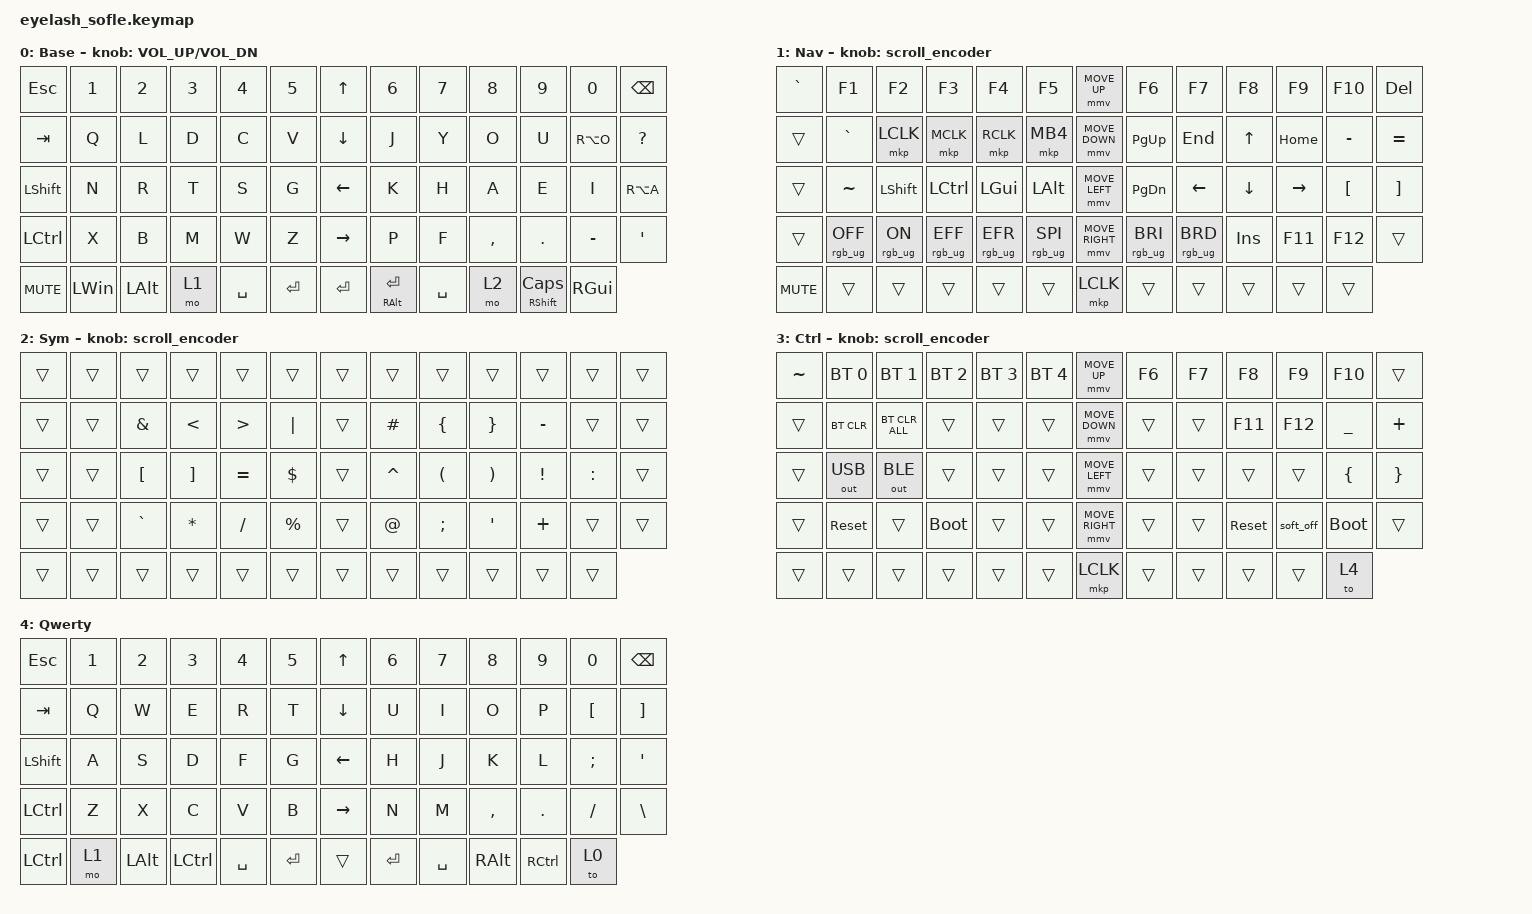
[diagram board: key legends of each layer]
#define ZMK_POINTING_DEFAULT_MOVE_VAL 1200  // 600
#define ZMK_POINTING_DEFAULT_SCRL_VAL 25   // 10

#include <input/processors.dtsi>
#include <zephyr/dt-bindings/input/input-event-codes.h>
#include <behaviors.dtsi>
#include <dt-bindings/zmk/bt.h>
#include <dt-bindings/zmk/keys.h>
#include <dt-bindings/zmk/outputs.h>
#include <dt-bindings/zmk/pointing.h>
#include <dt-bindings/zmk/rgb.h>

&mmv_input_listener { input-processors = <&zip_xy_scaler 2 1>; };

&msc_input_listener { input-processors = <&zip_scroll_scaler 2 1>; };

&msc {
    acceleration-exponent = <1>;      // 0
    time-to-max-speed-ms = <100>;       // 300
    delay-ms = <0>;                   // 0
};

&mmv {
    time-to-max-speed-ms = <500>;
    acceleration-exponent = <1>;
    trigger-period-ms = <16>;
};

&soft_off { hold-time-ms = <2000>; };

/ {
    scroll_encoder: scroll_encoder {
        compatible = "zmk,behavior-sensor-rotate";
        #sensor-binding-cells = <0>;
        bindings = <&msc SCRL_DOWN>, <&msc SCRL_UP>;

        tap-ms = <100>;
    };

    behaviors {
    };

    combos {
        compatible = "zmk,combos";

        softoff {
            bindings = <&soft_off>;
            key-positions = <14 28 40>;
        };
    };

    keymap {
        compatible = "zmk,keymap";

        layer0 {
            bindings = <
&kp ESC           &kp N1        &kp N2        &kp N3  &kp N4     &kp N5     &kp UP_ARROW     &kp N6             &kp N7     &kp N8     &kp N9                    &kp N0         &kp BACKSPACE
&kp TAB           &kp Q         &kp L         &kp D   &kp C      &kp V      &kp DOWN_ARROW   &kp J              &kp Y      &kp O      &kp U                     &kp RA(O)      &kp QUESTION
&kp LEFT_SHIFT    &kp N         &kp R         &kp T   &kp S      &kp G      &kp LEFT_ARROW   &kp K              &kp H      &kp A      &kp E                     &kp I          &kp RA(A)
&kp LEFT_CONTROL  &kp X         &kp B         &kp M   &kp W      &kp Z      &kp RIGHT_ARROW  &kp P              &kp F      &kp COMMA  &kp DOT                   &kp MINUS      &kp APOSTROPHE
&kp C_MUTE        &kp LEFT_WIN  &kp LEFT_ALT  &mo 1   &kp SPACE  &kp RET    &kp ENTER        &mt RIGHT_ALT RET  &kp SPACE  &mo 2      &mt RIGHT_SHIFT CAPSLOCK  &kp RIGHT_GUI
            >;

            sensor-bindings = <&inc_dec_kp C_VOLUME_UP C_VOL_DN>;
            display-name = "Base";
        };

        nav_layer {
            bindings = <
&kp GRAVE   &kp F1           &kp F2          &kp F3            &kp F4           &kp F5             &mmv MOVE_UP     &kp F6           &kp F7           &kp F8      &kp F9     &kp F10           &kp DELETE
&trans      &kp GRAVE        &mkp LCLK       &mkp MCLK         &mkp RCLK        &mkp MB4           &mmv MOVE_DOWN   &kp PG_UP        &kp END          &kp UP      &kp HOME   &kp MINUS         &kp EQUAL
&trans      &kp TILDE        &kp LEFT_SHIFT  &kp LEFT_CONTROL  &kp LEFT_GUI     &kp LEFT_ALT       &mmv MOVE_LEFT   &kp PG_DN        &kp LEFT         &kp DOWN    &kp RIGHT  &kp LEFT_BRACKET  &kp RIGHT_BRACKET
&trans      &rgb_ug RGB_OFF  &rgb_ug RGB_ON  &rgb_ug RGB_EFF   &rgb_ug RGB_EFR  &rgb_ug RGB_SPI    &mmv MOVE_RIGHT  &rgb_ug RGB_BRI  &rgb_ug RGB_BRD  &kp INSERT  &kp F11    &kp F12           &trans
&kp C_MUTE  &trans           &trans          &trans            &trans           &trans             &mkp LCLK        &trans           &trans           &trans      &trans     &trans
            >;

            display-name = "Nav";
            sensor-bindings = <&scroll_encoder>;
            label = "Navigation";
        };

        sym_layer {
            bindings = <
&trans  &trans  &trans            &trans             &trans            &trans         &trans  &trans     &trans                &trans                 &trans     &trans     &trans
&trans  &trans  &kp AMPS          &kp LESS_THAN      &kp GREATER_THAN  &kp PIPE       &trans  &kp POUND  &kp LEFT_BRACE        &kp RIGHT_BRACE        &kp MINUS  &trans     &trans
&trans  &trans  &kp LEFT_BRACKET  &kp RIGHT_BRACKET  &kp EQUAL         &kp DOLLAR     &trans  &kp CARET  &kp LEFT_PARENTHESIS  &kp RIGHT_PARENTHESIS  &kp EXCL   &kp COLON  &trans
&trans  &trans  &kp GRAVE         &kp ASTERISK       &kp SLASH         &kp PERCENT    &trans  &kp AT     &kp SEMICOLON         &kp SINGLE_QUOTE       &kp PLUS   &trans     &trans
&trans  &trans  &trans            &trans             &trans            &trans         &trans  &trans     &trans                &trans                 &trans     &trans
            >;

            display-name = "Sym";
            label = "Symbols";
            sensor-bindings = <&scroll_encoder>;
        };

        ctrl_layer {
            bindings = <
&kp TILDE  &bt BT_SEL 0  &bt BT_SEL 1    &bt BT_SEL 2  &bt BT_SEL 3  &bt BT_SEL 4    &mmv MOVE_UP     &kp F6  &kp F7  &kp F8      &kp F9     &kp F10      &trans
&trans     &bt BT_CLR    &bt BT_CLR_ALL  &trans        &trans        &trans          &mmv MOVE_DOWN   &trans  &trans  &kp F11     &kp F12    &kp UNDER    &kp PLUS
&trans     &out OUT_USB  &out OUT_BLE    &trans        &trans        &trans          &mmv MOVE_LEFT   &trans  &trans  &trans      &trans     &kp LBRC     &kp RBRC
&trans     &sys_reset    &trans          &bootloader   &trans        &trans          &mmv MOVE_RIGHT  &trans  &trans  &sys_reset  &soft_off  &bootloader  &trans
&trans     &trans        &trans          &trans        &trans        &trans          &mkp LCLK        &trans  &trans  &trans      &trans     &to 4
            >;

            display-name = "Ctrl";
            sensor-bindings = <&scroll_encoder>;
            label = "Control";
        };

        Qwerty {
            bindings = <
&kp ESC           &kp N1  &kp N2        &kp N3     &kp N4     &kp N5        &kp UP_ARROW     &kp N6     &kp N7     &kp N8     &kp N9     &kp N0    &kp BSPC
&kp TAB           &kp Q   &kp W         &kp E      &kp R      &kp T         &kp DOWN_ARROW   &kp U      &kp I      &kp O      &kp P      &kp LBKT  &kp RBKT
&kp LSHFT         &kp A   &kp S         &kp D      &kp F      &kp G         &kp LEFT_ARROW   &kp H      &kp J      &kp K      &kp L      &kp SEMI  &kp APOS
&kp LEFT_CONTROL  &kp Z   &kp X         &kp C      &kp V      &kp B         &kp RIGHT_ARROW  &kp N      &kp M      &kp COMMA  &kp DOT    &kp FSLH  &kp BSLH
&kp LCTRL         &mo 1   &kp LEFT_ALT  &kp LCTRL  &kp SPACE  &kp RETURN    &trans           &kp ENTER  &kp SPACE  &kp RALT   &kp RCTRL  &to 0
            >;

            display-name = "Qwerty";
            label = "Qwerty";
        };
    };

    conditional_layers {
        compatible = "zmk,conditional-layers";

        conditional_ctrl_layer {
            if-layers = <1 2>;
            then-layer = <3>;
        };
    };
};
